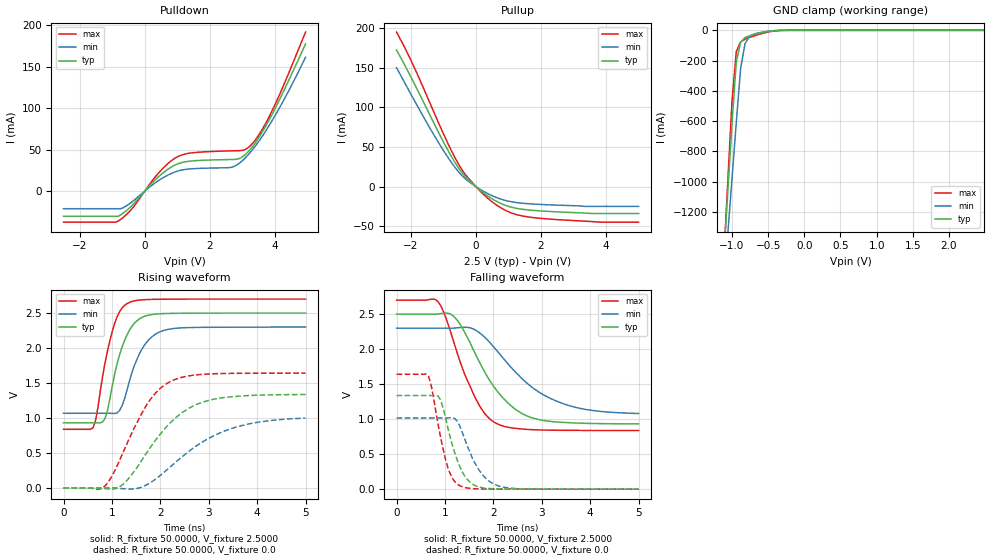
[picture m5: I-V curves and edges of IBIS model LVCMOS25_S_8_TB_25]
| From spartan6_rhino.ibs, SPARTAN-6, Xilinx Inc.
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|   Model LVCMOS25_S_8_TB_25
[Model]  LVCMOS25_S_8_TB_25
Model_type I/O
Polarity   Non-Inverting
Enable   Active-Low
Vinl =   0.7000V
Vinh =   1.7000V
Vmeas =  1.2500V
Cref =   0.0F
Rref =   1.0000M
Vref =   0.0V
C_comp   5.71pF   5.63pF   6.21pF
|C_comp   6.33pF   6.15pF   6.69pF
[Temperature Range]   25.0000   85.0000   0.0
[Voltage Range]   2.5000V   2.3000V   2.7000V
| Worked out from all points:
|   slope of the pulldown table from 0 to 0.375 V, typ, clamps not added: 24.2 ohm
|   slope of the pullup table from 0 to 0.375 V, typ, clamps not added: 30.7 ohm
|   GND clamp passes 1 mA (typ) near -0.36 V on its own axis
|   rising waveform, R_fixture 50.0000, V_fixture 2.5000: 20-80 % time 362ps typ, 409ps min, 322ps max; typ from 0.931 V to 2.5 V
|   rising waveform, R_fixture 50.0000, V_fixture 0.0: 20-80 % time 942ps typ, 1.24ns min, 734ps max; typ from 0 V to 1.33 V
|   falling waveform, R_fixture 50.0000, V_fixture 2.5000: 20-80 % time 833ps typ, 1.12ns min, 621ps max; typ from 2.5 V to 0.933 V
|   falling waveform, R_fixture 50.0000, V_fixture 0.0: 20-80 % time 351ps typ, 422ps min, 289ps max; typ from 1.34 V to 0 V
[Pulldown]
|Voltage   I(typ)   I(min)   I(max)
-2.5V     -30.64mA   -21.51mA   -37.78mA
-820mV    -30.64mA   -21.51mA   -36.55mA
-420mV    -18.59mA   -14mA      -22.63mA
460mV     18.52mA    13.55mA    23.33mA
940mV     31.53mA    23.09mA    39.91mA
1.42V     36.13mA    26.73mA    45.87mA
2.7V      38.02mA    29mA       48.49mA
2.94V     39.81mA    34.59mA    48.76mA
3.18V     47.57mA    43.81mA    52.45mA
3.5V      64.29mA    59.86mA    67.49mA
3.9V      91.72mA    84.21mA    95.98mA
4.94V     177.6mA    161.6mA    192mA
[Pullup]
|Voltage   I(typ)   I(min)   I(max)
-2.44V    172.6mA    150.3mA    195.3mA
-1.96V    135.5mA    113.9mA    156.3mA
-1.24V    75.9mA     61.76mA    89.13mA
-840mV    44.34mA    35.65mA    52.72mA
-520mV    22.73mA    18.02mA    27.39mA
-360mV    14.24mA    11.16mA    17.17mA
-40mV     1.494mA    1.131mA    1.826mA
520mV     -16mA      -11.94mA   -19.94mA
1.08V     -25.92mA   -19.07mA   -33.17mA
1.64V     -29.63mA   -21.74mA   -38.56mA
3.8V      -34mA      -25mA      -45mA
5V        -34mA      -25mA      -45mA
[GND_clamp]
|Voltage   I(typ)   I(min)   I(max)
-2.5V     -12.34A    -10.45A    -14.37A
-1.12V    -1.552A    -1.737A    -1.574A
-1.06V    -1.086A    -1.36A     -1.022A
-1V       -620.4mA   -984.2mA   -471mA
-940mV    -209.6mA   -607.7mA   -140.9mA
-880mV    -78.13mA   -250.8mA   -75.95mA
-820mV    -47.69mA   -89.21mA   -58.81mA
-760mV    -36.14mA   -40.83mA   -47.69mA
-700mV    -27.77mA   -25.02mA   -37.69mA
-520mV    -8.687mA   -7.489mA   -13.24mA
-400mV    -1.765mA   -1.693mA   -3.422mA
2.48V     29.1nA     237.4nA    26.83nA
[POWER_clamp]
|Voltage   I(typ)   I(min)   I(max)
-2.49V    0A         0A         0A
-2.46V    0A         0A         0A
-2.43V    0A         0A         0A
0V        0A         0A         0A
[Ramp]
| variable   typ   min   max
dV/dt_r  0.8010/0.9444n   0.5992/1.2397n   0.9846/0.7328n
dV/dt_f  0.9404/0.8324n   0.7314/1.1195n   1.1169/0.6193n
R_load = 50.0000
[Rising Waveform]
R_fixture= 50.0000
V_fixture= 2.5000
V_fixture_min= 2.3000
V_fixture_max= 2.7000
|time   V(typ)   V(min)   V(max)
0s        931.4mV    1.068V     838.4mV
610ps     931.3mV    1.068V     862.4mV
710ps     930.5mV    1.068V     1.145V
860ps     998.4mV    1.068V     1.796V
1.06ns    1.638V     1.065V     2.359V
1.21ns    2.014V     1.175V     2.571V
1.31ns    2.184V     1.395V     2.633V
1.62ns    2.438V     1.984V     2.688V
2.02ns    2.49V      2.239V     2.697V
5ns       2.499V     2.299V     2.699V
[Rising Waveform]
R_fixture= 50.0000
V_fixture= 0.0
|time   V(typ)   V(min)   V(max)
0s        4.876uV    41.92uV    4.581uV
710ps     359.4uV    -14.06uV   -16.1mV
860ps     -8.032mV   -33.9uV    31.75mV
1.21ns    42.43mV    -8.289mV   475.7mV
1.72ns    505.3mV    46.25mV    1.188V
1.97ns    746.1mV    164mV      1.406V
2.22ns    940.8mV    310.7mV    1.525V
2.78ns    1.203V     618.4mV    1.618V
3.48ns    1.304V     852.8mV    1.637V
5ns       1.335V     998.3mV    1.641V
[Falling Waveform]
R_fixture= 50.0000
V_fixture= 2.5000
V_fixture_min= 2.3000
V_fixture_max= 2.7000
|time   V(typ)   V(min)   V(max)
0s        2.5V       2.3V       2.7V
860ps     2.503V     2.3V       2.675V
1.21ns    2.448V     2.302V     2.04V
1.62ns    1.943V     2.277V     1.314V
1.82ns    1.675V     2.172V     1.082V
2.07ns    1.409V     1.981V     936mV
2.58ns    1.084V     1.586V     859.6mV
3.23ns    964.7mV    1.28V      842.4mV
3.94ns    940mV      1.135V     839.2mV
5ns       932.7mV    1.081V     838.5mV
[Falling Waveform]
R_fixture= 50.0000
V_fixture= 0.0
|time   V(typ)   V(min)   V(max)
0s        1.337V     1.017V     1.641V
660ps     1.337V     1.017V     1.613V
710ps     1.337V     1.017V     1.503V
910ps     1.273V     1.017V     741mV
1.06ns    874.2mV    1.018V     308.4mV
1.31ns    317.9mV    895.9mV    48.29mV
1.46ns    138.5mV    618.3mV    16.35mV
1.67ns    38.15mV    310.7mV    4.598mV
2.07ns    4.335mV    55.45mV    1.049mV
5ns       39.64uV    265.7uV    63.68uV
